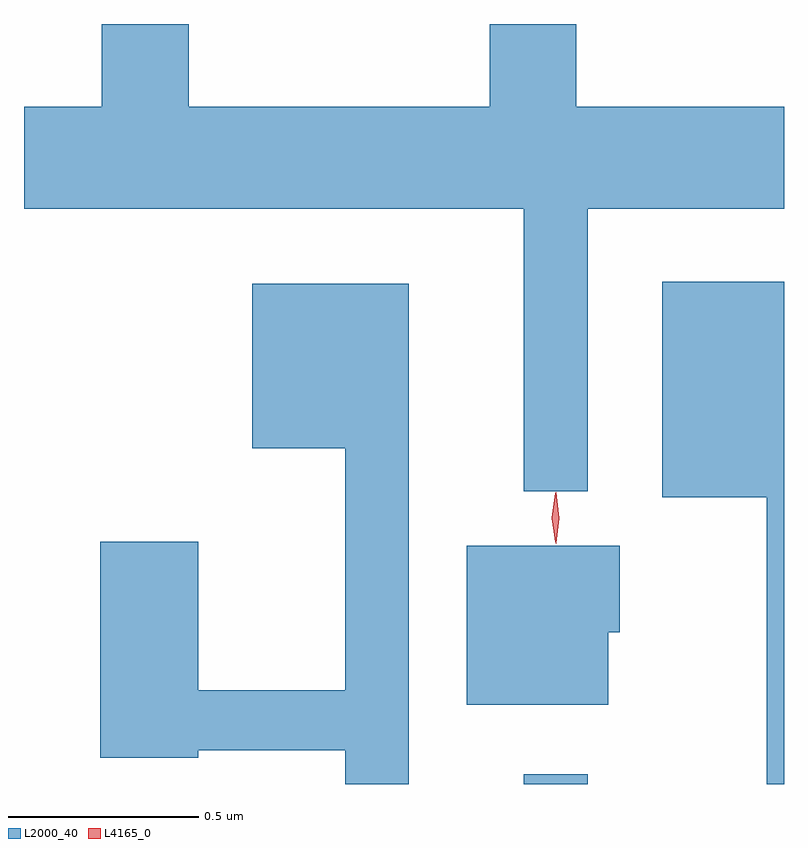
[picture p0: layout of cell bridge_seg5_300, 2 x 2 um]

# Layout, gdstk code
import gdstk
lib = gdstk.Library(unit=1e-6, precision=1e-09)
def R(c, l, rs):  # rectangles x0, y0, x1, y1
    for r in rs: c.add(gdstk.rectangle(r[:2], r[2:], *l))
def P(c, l, *ps):  # polygons
    for p in ps: c.add(gdstk.Polygon(p, *l))
L2000_40 = (2000, 40)
L4165_0 = (4165, 0)

bridge_seg5_300 = lib.new_cell('bridge_seg5_300')
R(bridge_seg5_300, L2000_40, [(722.541,1495.242,722.709,1495.268)])
P(bridge_seg5_300, L2000_40, [(722.451,1497.242),(722.451,1497.024),(721.659,1497.024),(721.659,1497.242),(721.431,1497.242),(721.431,1497.024),(721.226,1497.024),(721.226,1496.756),(722.541,1496.756),(722.541,1496.013),(722.709,1496.013),(722.709,1496.756),(723.226,1496.756),(723.226,1497.024),(722.679,1497.024),(722.679,1497.242)],
  [(723.226,1496.564),(722.906,1496.564),(722.906,1495.996),(723.181,1495.996),(723.181,1495.242),(723.226,1495.242)],
  [(722.239,1496.559),(721.826,1496.559),(721.826,1496.126),(722.071,1496.126),(722.071,1495.489),(721.684,1495.489),(721.684,1495.879),(721.426,1495.879),(721.426,1495.311),(721.684,1495.311),(721.684,1495.331),(722.071,1495.331),(722.071,1495.242),(722.239,1495.242)],
  [(722.764,1495.641),(722.794,1495.641),(722.794,1495.869),(722.391,1495.869),(722.391,1495.451),(722.764,1495.451)])
P(bridge_seg5_300, L4165_0, [(722.626,1495.874),(722.625,1495.875),(722.615,1495.942),(722.625,1496.01),(722.625,1496.01),(722.626,1496.01),(722.635,1495.942),(722.626,1495.875)],
  [(722.625,1495.878),(722.624,1495.879),(722.615,1495.943),(722.624,1496.007),(722.625,1496.007),(722.625,1496.007),(722.635,1495.943),(722.625,1495.879)])

lib.write_gds('bridge_seg5_300.gds')
